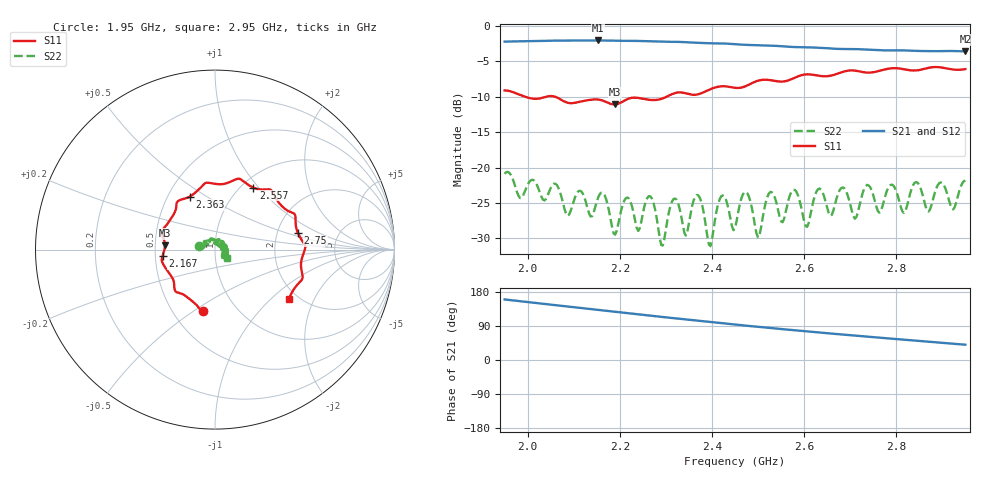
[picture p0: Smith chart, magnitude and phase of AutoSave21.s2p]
!Agilent N9923A: A.07.32
!Date: Wednesday, 01 June 2016 22:36:09
!Model: N9923A
!Serial: MY52412257
!GPS Latitude:
!GPS Longitude:
!GPS TimeStamp: 0001-01-01 00:00:00Z
!GPS Seconds Since Last Read: 0
!CHECKSUM:1758563269
!Correction: S11(ON U)S21(ON U)S12(ON U)S22(ON U)
!S2P File: Measurements:S11,S21,S12,S22:
# Hz S DB R 50
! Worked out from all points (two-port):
!   301 points, 1.95 GHz to 2.95 GHz, reference 50 ohm
!   highest |S21| = -2.04 dB at 2.153 GHz (marker M1); lowest = -3.6 dB at 2.95 GHz (marker M2)
!   |S21| within 3 dB of the highest: start of sweep to end of sweep
!   lowest |S11| = -11.1 dB at 2.19 GHz (marker M3), VSWR 1.77, Z = 28.2 + j1.41 ohm
!   |S11| at or under -10 dB: 1.995 GHz to 2.04 GHz (45.08 MHz wide, 2.23 % of centre); 2.06 GHz to 2.301 GHz (241.3 MHz wide, 11.1 % of centre)
!   |S22| runs from -31.1 to -20.6 dB; largest |S21 - S12| = 0.0072
!   S11 on the Smith chart (normalised r, x): 1.95 GHz: 0.70, -0.55; 2.167 GHz: 0.55, -0.04; 2.363 GHz: 0.64, +0.42; 2.557 GHz: 1.13, +0.94; 2.75 GHz: 2.61, +0.62; 2.95 GHz: 1.79, -1.31
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1.95e9  -9.11 -101.1  -2.21 159.8  -2.19 160.1  -20.89 168.0
2.12e9  -10.59 -160.5  -2.05 136.7  -2.04 137.1  -23.72 141.6
2.153333e9  -10.39 -168.5  -2.04 132.2  -2.02 132.5  -24.19 105.4
2.166667e9  -10.63 -173.1  -2.05 130.4  -2.03 130.6  -23.87 116.3
2.19e9  -11.08 175.3  -2.09 127.1  -2.08 127.4  -29.48 101.5
2.263333e9  -10.43 151.3  -2.14 117.3  -2.13 117.7  -24.04 75.1
2.286667e9  -10.36 139.0  -2.20 114.2  -2.19 114.6  -29.94 86.7
2.32e9  -9.47 129.3  -2.23 110.1  -2.21 110.4  -24.38 71.1
2.343333e9  -9.51 123.1  -2.29 107.0  -2.27 107.3  -29.61 56.4
2.363333e9  -9.72 115.6  -2.35 104.3  -2.34 104.5  -24.14 37.8
2.396667e9  -8.92 102.1  -2.44 100.2  -2.42 100.5  -31.12 36.8
2.42e9  -8.52 98.0  -2.46 97.3  -2.45 97.5  -24.07 34.8
2.453333e9  -8.75 87.9  -2.58 93.1  -2.57 93.3  -27.60 10.7
2.473333e9  -8.49 79.9  -2.66 90.7  -2.65 90.8  -23.45 18.9
2.5e9  -7.73 73.0  -2.71 87.7  -2.70 87.8  -29.89 18.6
2.526667e9  -7.65 68.6  -2.76 84.5  -2.75 84.6  -23.45 13.8
2.556667e9  -7.82 58.2  -2.89 81.0  -2.88 81.1  -27.22 -5.1
2.62e9  -6.89 44.2  -3.03 74.0  -3.02 74.1  -24.75 -15.6
2.75e9  -6.53 11.2  -3.37 60.2  -3.36 60.5  -23.89 -7.1
2.783333e9  -6.02 3.4  -3.45 56.9  -3.43 57.2  -22.79 -31.8
2.87e9  -5.91 -16.0  -3.55 48.3  -3.53 48.8  -26.23 -33.3
2.95e9  -6.09 -33.6  -3.58 40.4  -3.57 40.9  -21.86 -37.5
